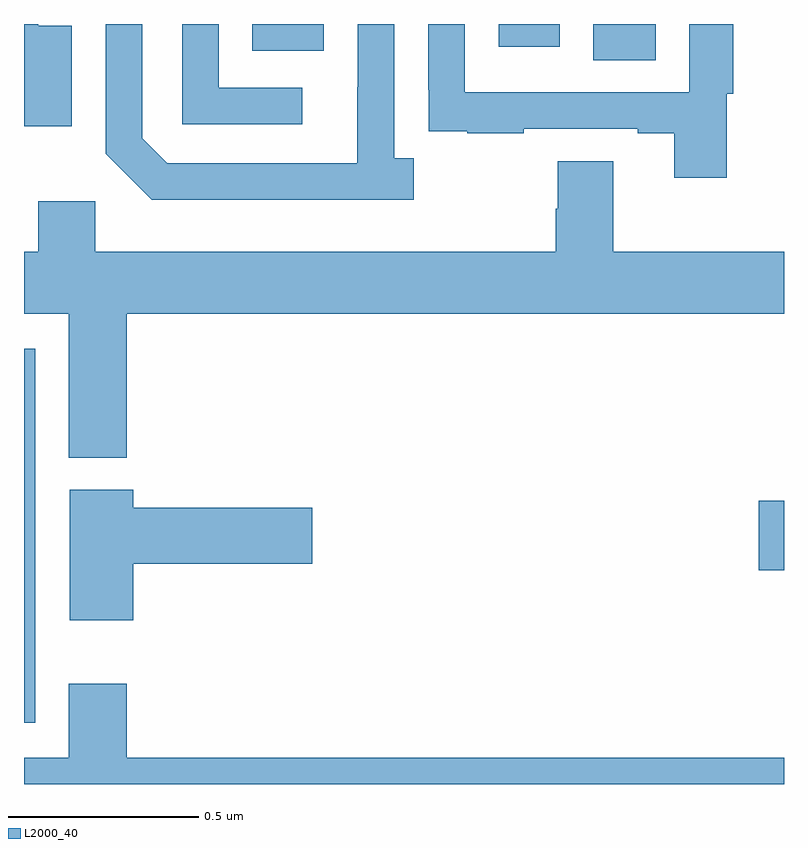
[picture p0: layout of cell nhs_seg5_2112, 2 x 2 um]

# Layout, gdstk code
import gdstk
lib = gdstk.Library(unit=1e-6, precision=1e-09)
def R(c, l, rs):  # rectangles x0, y0, x1, y1
    for r in rs: c.add(gdstk.rectangle(r[:2], r[2:], *l))
def P(c, l, *ps):  # polygons
    for p in ps: c.add(gdstk.Polygon(p, *l))
L2000_40 = (2000, 40)

nhs_seg5_2112 = lib.new_cell('nhs_seg5_2112')
R(nhs_seg5_2112, L2000_40, [(139,912.96,139.029,913.944), (140.934,913.361,141,913.544), (140.498,914.704,140.662,914.799), (139.601,914.729,139.789,914.799), (140.249,914.739,140.41,914.799)])
P(nhs_seg5_2112, L2000_40, [(139.732,914.631),(139.512,914.631),(139.512,914.799),(139.416,914.799),(139.416,914.535),(139.732,914.535)],
  [(139.126,914.794),(139.037,914.794),(139.037,914.799),(139,914.799),(139,914.53),(139.126,914.53)],
  [(140.849,914.616),(140.867,914.616),(140.867,914.799),(140.751,914.799),(140.751,914.619),(140.16,914.619),(140.16,914.799),(140.064,914.799),(140.064,914.626),(140.065,914.626),(140.065,914.517),(140.167,914.517),(140.167,914.511),(140.315,914.511),(140.315,914.523),(140.615,914.523),(140.615,914.511),(140.711,914.511),(140.711,914.394),(140.849,914.394)],
  [(140.026,914.446),(139.974,914.446),(139.974,914.799),(139.878,914.799),(139.878,914.633),(139.877,914.633),(139.877,914.433),(139.377,914.433),(139.311,914.499),(139.311,914.799),(139.215,914.799),(139.215,914.457),(139.336,914.336),(140.026,914.336)],
  [(139.271,914.036),(141,914.036),(141,914.2),(140.551,914.2),(140.551,914.438),(140.404,914.438),(140.404,914.313),(140.399,914.313),(140.399,914.2),(139.188,914.2),(139.188,914.332),(139.037,914.332),(139.037,914.2),(139,914.2),(139,914.036),(139.118,914.036),(139.118,913.658),(139.271,913.658)],
  [(139.288,913.379),(139.759,913.379),(139.759,913.526),(139.288,913.526),(139.288,913.573),(139.121,913.573),(139.121,913.23),(139.288,913.23)],
  [(141,912.868),(139.271,912.868),(139.271,913.063),(139.118,913.063),(139.118,912.868),(139,912.868),(139,912.799),(141,912.799)])

lib.write_gds('nhs_seg5_2112.gds')
